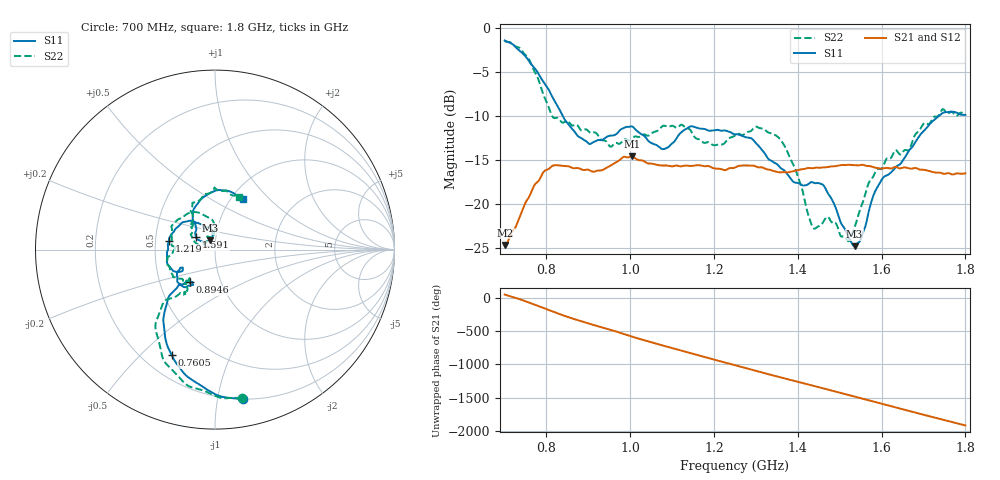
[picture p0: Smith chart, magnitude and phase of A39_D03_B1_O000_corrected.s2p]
! Created with skrf 1.9.0 (http://scikit-rf.org).
# Hz S RI R 50.0
!freq ReS11 ImS11 ReS21 ImS21 ReS12 ImS12 ReS22 ImS22
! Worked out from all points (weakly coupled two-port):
!   1601 points, 700 MHz to 1.8 GHz, reference 50 ohm
!   highest |S21| = -14.57 dB at 1.005 GHz (marker M1); lowest = -24.6 dB at 701.4 MHz (marker M2)
!   lowest |S11| = -24.7 dB at 1.535 GHz (marker M3), VSWR 1.12, Z = 47.3 + j4.94 ohm
!   |S11| at or under -10 dB: 838.8 MHz to 1.736 GHz (897.4 MHz wide, 69.7 % of centre)
!   |S22| runs from -24.2 to -1.5 dB; largest |S21 - S12| = 0.0035
!   S11 on the Smith chart (normalised r, x): 700 MHz: 0.20, -1.19; 760.5 MHz: 0.32, -0.62; 894.6 MHz: 0.71, -0.27; 1.219 GHz: 0.59, +0.06; 1.591 GHz: 0.80, +0.11; 1.8 GHz: 1.13, +0.71
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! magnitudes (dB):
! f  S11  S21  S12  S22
! 700 MHz  -1.4  -24.6  -24.4  -1.5
! 701.4 MHz  -1.5  -24.6  -24.2  -1.5
! 760.5 MHz  -3.9  -19.0  -18.8  -3.8
! 814.8 MHz  -7.9  -15.6  -15.7  -10.1
! 883.6 MHz  -12.5  -16.0  -15.9  -11.6
! 894.6 MHz  -12.8  -16.1  -16.2  -11.5
! 953 MHz  -12.2  -15.6  -15.6  -13.5
! 1.005 GHz  -11.2  -14.6  -14.7  -12.5
! 1.067 GHz  -13.4  -15.6  -15.5  -11.6
! 1.144 GHz  -11.2  -15.7  -15.6  -11.6
! 1.219 GHz  -11.7  -16.0  -16.1  -13.2
! 1.25 GHz  -12.1  -15.8  -15.8  -12.2
! 1.357 GHz  -15.8  -16.4  -16.3  -12.6
! 1.395 GHz  -17.6  -16.2  -16.2  -16.1
! 1.434 GHz  -17.5  -15.9  -15.9  -22.4
! 1.463 GHz  -18.0  -15.8  -15.8  -21.8
! 1.52 GHz  -23.6  -15.5  -15.5  -24.2
! 1.535 GHz  -24.7  -15.6  -15.6  -22.6
! 1.591 GHz  -18.0  -15.9  -15.9  -15.9
! 1.617 GHz  -16.6  -15.9  -15.9  -14.8
! 1.74 GHz  -9.9  -16.4  -16.4  -9.6
! 1.8 GHz  -9.9  -16.5  -16.5  -9.8
